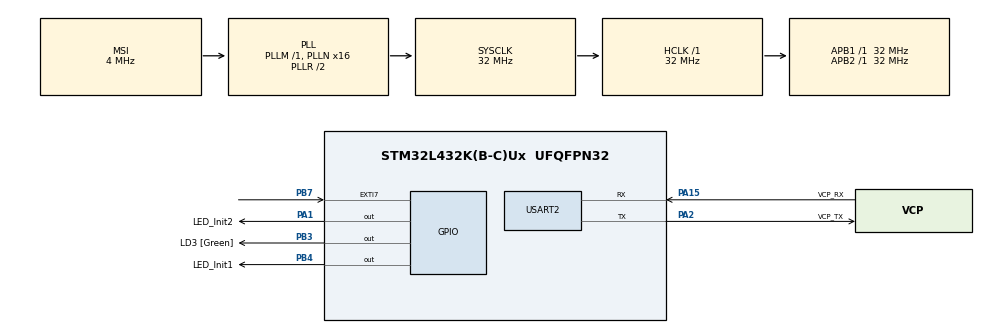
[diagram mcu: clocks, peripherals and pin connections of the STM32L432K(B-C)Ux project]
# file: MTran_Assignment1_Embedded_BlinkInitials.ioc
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Mcu.Family=STM32L4
Mcu.Name=STM32L432K(B-C)Ux
Mcu.Package=UFQFPN32
NVIC.EXTI9_5_IRQn=true\:0\:0\:false\:false\:true\:true\:true\:true
NVIC.PriorityGroup=NVIC_PRIORITYGROUP_4
PA0.GPIO_Label=MCO [High speed clock in]
PA0.Mode=HSE-External-Clock-Source-for-LittleOrca
PA0.Signal=RCC_CK_IN
PA1.GPIO_Label=LED_Init2
PA1.Signal=GPIO_Output
PA13\ (JTMS-SWDIO).GPIO_Label=SWDIO
PA13\ (JTMS-SWDIO).Mode=Serial_Wire
PA13\ (JTMS-SWDIO).Signal=SYS_JTMS-SWDIO
PA14\ (JTCK-SWCLK).GPIO_Label=SWCLK
PA14\ (JTCK-SWCLK).Mode=Serial_Wire
PA14\ (JTCK-SWCLK).Signal=SYS_JTCK-SWCLK
PA15\ (JTDI).GPIO_Label=VCP_RX
PA15\ (JTDI).Mode=Asynchronous
PA15\ (JTDI).Signal=USART2_RX
PA2.GPIO_Label=VCP_TX
PA2.Mode=Asynchronous
PA2.Signal=USART2_TX
PB3\ (JTDO-TRACESWO).GPIO_Label=LD3 [Green]
PB3\ (JTDO-TRACESWO).Signal=GPIO_Output
PB4\ (NJTRST).GPIO_Label=LED_Init1
PB4\ (NJTRST).Signal=GPIO_Output
PB7.GPIO_ModeDefaultEXTI=GPIO_MODE_IT_FALLING
PB7.GPIO_PuPd=GPIO_PULLUP
PB7.Signal=GPXTI7
PC14-OSC32_IN\ (PC14).Mode=LSE-External-Oscillator
PC14-OSC32_IN\ (PC14).Signal=RCC_OSC32_IN
PC15-OSC32_OUT\ (PC15).Mode=LSE-External-Oscillator
PC15-OSC32_OUT\ (PC15).Signal=RCC_OSC32_OUT
ProjectManager.HeapSize=0x200
ProjectManager.StackSize=0x400
ProjectManager.TargetToolchain=STM32CubeIDE
RCC.AHBFreq_Value=32000000
RCC.APB1Freq_Value=32000000
RCC.APB1TimFreq_Value=32000000
RCC.APB2Freq_Value=32000000
RCC.APB2TimFreq_Value=32000000
RCC.CortexFreq_Value=32000000
RCC.HCLKFreq_Value=32000000
RCC.HSE_VALUE=8000000
RCC.HSI16_VALUE=16000000
RCC.HSI48_VALUE=48000000
RCC.HSI_VALUE=16000000
RCC.MSI_VALUE=4000000
RCC.PLLMUL=RCC_PLLMUL_4
RCC.PLLN=16
RCC.SYSCLKFreq_VALUE=32000000
RCC.SYSCLKSource=RCC_SYSCLKSOURCE_PLLCLK
RCC.VCOOutputFreq_Value=64000000
USART2.VirtualMode-Asynchronous=VM_ASYNC
board=NUCLEO-L432KC

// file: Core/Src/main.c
/* USER CODE BEGIN Header */
/**
  ******************************************************************************
  * @file           : main.c
  * @brief          : Main program body
  ******************************************************************************
  * @attention
  *
  * Copyright (c) 2024 STMicroelectronics.
  * All rights reserved.
  *
  * This software is licensed under terms that can be found in the LICENSE file
  * in the root directory of this software component.
  * If no LICENSE file comes with this software, it is provided AS-IS.
  *
  ******************************************************************************
  */
/*
* FILE : main.c
* PROJECT : LED Flash - Assignment #1
* PROGRAMMER : Minh Quan Tran
* FIRST VERSION : 2024-06-14
* DESCRIPTION : This file is main code file to run LED blinking with my initials 'M' and 'T'
*/
/* USER CODE END Header */
#include "main.h"
#include "stdio.h"
#include "stdbool.h"

/* USER CODE BEGIN PM */
#define MASK_BIT0 0x01
#define MASK_BIT1 0x02
#define MASK_BIT2 0x04
#define MASK_BIT3 0x08
#define MASK_BIT4 0x10
#define MASK_BIT5 0x20
#define MASK_BIT6 0x40
#define MASK_BIT7 0x80
/* USER CODE END PM */

UART_HandleTypeDef huart2;
bool hadInit1 = false;
bool hadInit2 = false;
char firstInitial, secondInitial;

/* USER CODE BEGIN PV */
char Mask[8] = {MASK_BIT0, MASK_BIT1, MASK_BIT2, MASK_BIT3,
				MASK_BIT4, MASK_BIT5, MASK_BIT6, MASK_BIT7};
/* USER CODE END PV */

void SystemClock_Config(void);
static void MX_GPIO_Init(void);
static void MX_USART2_UART_Init(void);
void blinkLedInitial(char Init_Name, GPIO_TypeDef* GPIOx, uint16_t GPIO_Pin);
bool getInitial1(bool hadInitial);
bool getInitial2(bool hadInitial);
void buttonCallback(void);

/* USER CODE BEGIN 0 */

/* FUNCTION : blinkLedInitial
*
* DESCRIPTION : This function is used to blink LED from the input initials
*
* PARAMETERS :
* char Init_Name : Initials of the name
* GPIO_TypeDef* GPIOx: Port used for LED
* uint16_t GPIO_Pin: Pin number of LED

*
* RETURNS : void
*/
void blinkLedInitial(char Init_Name, GPIO_TypeDef* GPIOx, uint16_t GPIO_Pin)
{
	bool ledState = 0;
	for (int i = 7; i >= 0; i--)
	{
		// Checking each bit from MSB to LSB
		if ((Init_Name & Mask[i]) == Mask[i])
		{
			ledState = 1;
		}
		else
		{
			ledState = 0;
		}
		HAL_GPIO_WritePin(GPIOx,GPIO_Pin,ledState);
		HAL_Delay(300);
	}
	HAL_GPIO_WritePin(GPIOx,GPIO_Pin,GPIO_PIN_RESET);

}

/* FUNCTION : getInitial1
*
* DESCRIPTION : This function is used to get Initial 1 from virtual terminal
*
* PARAMETERS :
* bool hadInitial: status in which had got initial or not?

*
* RETURNS : true after getting initial
* false if already define
*/
bool getInitial1(bool hadInitial)
{
	if (!hadInitial)
	{
		scanf("%c",&firstInitial);
		printf("Your first initial is: %c\r\n",firstInitial);
		return true;
	}
	else
	{
		return false;
	}
}

/* FUNCTION : getInitial2
*
* DESCRIPTION : This function is used to get Initial 2 from virtual terminal
*
* PARAMETERS :
* bool hadInitial: status in which had got initial or not?

*
* RETURNS : true after getting initial
* false if already define
*/
bool getInitial2(bool hadInitial)
{
	if (!hadInitial)
	{
		scanf("%c",&secondInitial);
		printf("Your second initial is: %c\r\n",secondInitial);
		return true;
	}
	else
	{
		return false;
	}
}

/* FUNCTION : buttonCallback
*
* DESCRIPTION : This function is used to call back whenever button is pressed.
* The purpose is to re-declared initial 1 and initial 2
*
* PARAMETERS :
*
* RETURNS :
*
*/
void buttonCallback(void)
{

	hadInit1 = false;
	hadInit2 = false;
	printf("Reset Initials\r\n");
	printf("Please insert new initials\r\n");

	while(!hadInit1 & !hadInit2)
	{
		hadInit1 = getInitial1(hadInit1);
		hadInit2 = getInitial2(hadInit2);
	}
}
/* USER CODE END 0 */

int main(void)
{

  /* MCU Configuration--------------------------------------------------------*/

  /* Reset of all peripherals, Initializes the Flash interface and the Systick. */
  HAL_Init();

  /* Configure the system clock */
  SystemClock_Config();

  /* Initialize all configured peripherals */
  MX_GPIO_Init();
  MX_USART2_UART_Init();
  /* USER CODE BEGIN 2 */
  printf("Please insert Initials\r\n");
  hadInit1 = getInitial1(hadInit1);
  hadInit2 = getInitial2(hadInit2);
  /* USER CODE END 2 */

  /* Infinite loop */
  while (1)
  {
	if (hadInit1 && hadInit2)
	{
		blinkLedInitial(firstInitial,GPIOB, GPIO_PIN_4);
		HAL_Delay(1000);
		blinkLedInitial(secondInitial,GPIOA, GPIO_PIN_1);
		HAL_Delay(3000);
	}
  }
}

void SystemClock_Config(void)
{
  RCC_OscInitTypeDef RCC_OscInitStruct = {0};
  RCC_ClkInitTypeDef RCC_ClkInitStruct = {0};

  /** Configure the main internal regulator output voltage
  */
  if (HAL_PWREx_ControlVoltageScaling(PWR_REGULATOR_VOLTAGE_SCALE1) != HAL_OK)
  {
    Error_Handler();
  }

  /** Configure LSE Drive Capability
  */
  HAL_PWR_EnableBkUpAccess();
  __HAL_RCC_LSEDRIVE_CONFIG(RCC_LSEDRIVE_LOW);

  /** Initializes the RCC Oscillators according to the specified parameters
  * in the RCC_OscInitTypeDef structure.
  */
  RCC_OscInitStruct.OscillatorType = RCC_OSCILLATORTYPE_LSE|RCC_OSCILLATORTYPE_MSI;
  RCC_OscInitStruct.LSEState = RCC_LSE_ON;
  RCC_OscInitStruct.MSIState = RCC_MSI_ON;
  RCC_OscInitStruct.MSICalibrationValue = 0;
  RCC_OscInitStruct.MSIClockRange = RCC_MSIRANGE_6;
  RCC_OscInitStruct.PLL.PLLState = RCC_PLL_ON;
  RCC_OscInitStruct.PLL.PLLSource = RCC_PLLSOURCE_MSI;
  RCC_OscInitStruct.PLL.PLLM = 1;
  RCC_OscInitStruct.PLL.PLLN = 16;
  RCC_OscInitStruct.PLL.PLLP = RCC_PLLP_DIV7;
  RCC_OscInitStruct.PLL.PLLQ = RCC_PLLQ_DIV2;
  RCC_OscInitStruct.PLL.PLLR = RCC_PLLR_DIV2;
  if (HAL_RCC_OscConfig(&RCC_OscInitStruct) != HAL_OK)
  {
    Error_Handler();
  }

  /** Initializes the CPU, AHB and APB buses clocks
  */
  RCC_ClkInitStruct.ClockType = RCC_CLOCKTYPE_HCLK|RCC_CLOCKTYPE_SYSCLK
                              |RCC_CLOCKTYPE_PCLK1|RCC_CLOCKTYPE_PCLK2;
  RCC_ClkInitStruct.SYSCLKSource = RCC_SYSCLKSOURCE_PLLCLK;
  RCC_ClkInitStruct.AHBCLKDivider = RCC_SYSCLK_DIV1;
  RCC_ClkInitStruct.APB1CLKDivider = RCC_HCLK_DIV1;
  RCC_ClkInitStruct.APB2CLKDivider = RCC_HCLK_DIV1;

  if (HAL_RCC_ClockConfig(&RCC_ClkInitStruct, FLASH_LATENCY_1) != HAL_OK)
  {
    Error_Handler();
  }

  /** Enable MSI Auto calibration
  */
  HAL_RCCEx_EnableMSIPLLMode();
}

static void MX_USART2_UART_Init(void)
{

  huart2.Instance = USART2;
  huart2.Init.BaudRate = 115200;
  huart2.Init.WordLength = UART_WORDLENGTH_8B;
  huart2.Init.StopBits = UART_STOPBITS_1;
  huart2.Init.Parity = UART_PARITY_NONE;
  huart2.Init.Mode = UART_MODE_TX_RX;
  huart2.Init.HwFlowCtl = UART_HWCONTROL_NONE;
  huart2.Init.OverSampling = UART_OVERSAMPLING_16;
  huart2.Init.OneBitSampling = UART_ONE_BIT_SAMPLE_DISABLE;
  huart2.AdvancedInit.AdvFeatureInit = UART_ADVFEATURE_NO_INIT;
  if (HAL_UART_Init(&huart2) != HAL_OK)
  {
    Error_Handler();
  }

}

static void MX_GPIO_Init(void)
{
  GPIO_InitTypeDef GPIO_InitStruct = {0};

  /* GPIO Ports Clock Enable */
  __HAL_RCC_GPIOC_CLK_ENABLE();
  __HAL_RCC_GPIOA_CLK_ENABLE();
  __HAL_RCC_GPIOB_CLK_ENABLE();

  /*Configure GPIO pin Output Level */
  HAL_GPIO_WritePin(LED_Init2_GPIO_Port, LED_Init2_Pin, GPIO_PIN_RESET);

  /*Configure GPIO pin Output Level */
  HAL_GPIO_WritePin(GPIOB, LD3_Pin|LED_Init1_Pin, GPIO_PIN_RESET);

  /*Configure GPIO pin : LED_Init2_Pin */
  GPIO_InitStruct.Pin = LED_Init2_Pin;
  GPIO_InitStruct.Mode = GPIO_MODE_OUTPUT_PP;
  GPIO_InitStruct.Pull = GPIO_NOPULL;
  GPIO_InitStruct.Speed = GPIO_SPEED_FREQ_LOW;
  HAL_GPIO_Init(LED_Init2_GPIO_Port, &GPIO_InitStruct);

  /*Configure GPIO pins : LD3_Pin LED_Init1_Pin */
  GPIO_InitStruct.Pin = LD3_Pin|LED_Init1_Pin;
  GPIO_InitStruct.Mode = GPIO_MODE_OUTPUT_PP;
  GPIO_InitStruct.Pull = GPIO_NOPULL;
  GPIO_InitStruct.Speed = GPIO_SPEED_FREQ_LOW;
  HAL_GPIO_Init(GPIOB, &GPIO_InitStruct);

  /*Configure GPIO pin : PB7 */
  GPIO_InitStruct.Pin = GPIO_PIN_7;
  GPIO_InitStruct.Mode = GPIO_MODE_IT_FALLING;
  GPIO_InitStruct.Pull = GPIO_PULLUP;
  HAL_GPIO_Init(GPIOB, &GPIO_InitStruct);

  /* EXTI interrupt init*/
  HAL_NVIC_SetPriority(EXTI9_5_IRQn, 0, 0);
  HAL_NVIC_EnableIRQ(EXTI9_5_IRQn);

}

void Error_Handler(void)
{
  __disable_irq();
  while (1)
  {
  }
}
